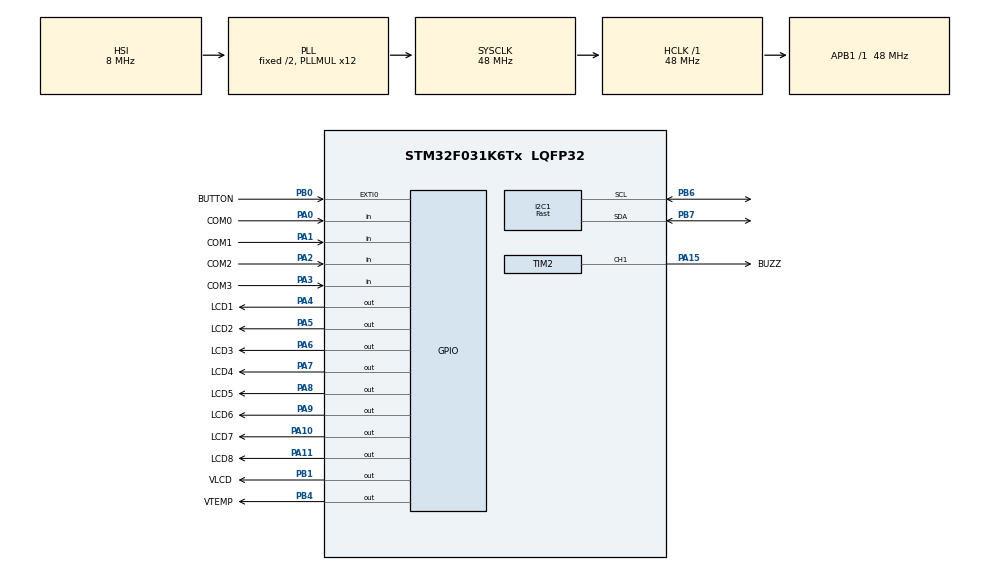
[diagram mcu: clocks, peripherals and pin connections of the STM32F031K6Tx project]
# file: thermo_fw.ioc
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I2C1.I2C_Speed_Mode=I2C_Fast
I2C1.Timing=0x0000020B
Mcu.Family=STM32F0
Mcu.Name=STM32F031K6Tx
Mcu.Package=LQFP32
NVIC.TIM16_IRQn=true\:1\:0\:true\:false\:true\:true\:true
NVIC.TIM17_IRQn=true\:2\:0\:true\:false\:true\:true\:true
PA0.GPIO_Label=COM0
PA0.Signal=GPIO_Input
PA1.GPIO_Label=COM1
PA1.Signal=GPIO_Input
PA10.GPIO_Label=LCD7
PA10.Signal=GPIO_Output
PA11.GPIO_Label=LCD8
PA11.Signal=GPIO_Output
PA13.GPIO_Label=SWDIO
PA13.Mode=Serial_Wire
PA13.Signal=SYS_SWDIO
PA14.GPIO_Label=SWCLK
PA14.Mode=Serial_Wire
PA14.Signal=SYS_SWCLK
PA15.GPIO_Label=BUZZ
PA15.Signal=S_TIM2_CH1_ETR
PA2.GPIO_Label=COM2
PA2.Signal=GPIO_Input
PA3.GPIO_Label=COM3
PA3.Signal=GPIO_Input
PA4.GPIO_Label=LCD1
PA4.Signal=GPIO_Output
PA5.GPIO_Label=LCD2
PA5.Signal=GPIO_Output
PA6.GPIO_Label=LCD3
PA6.Signal=GPIO_Output
PA7.GPIO_Label=LCD4
PA7.Signal=GPIO_Output
PA8.GPIO_Label=LCD5
PA8.Signal=GPIO_Output
PA9.GPIO_Label=LCD6
PA9.Signal=GPIO_Output
PB0.GPIO_Label=BUTTON
PB0.GPIO_PuPd=GPIO_PULLUP
PB0.Signal=GPXTI0
PB1.GPIO_Label=VLCD
PB1.Signal=GPIO_Output
PB4.GPIO_Label=VTEMP
PB4.Signal=GPIO_Output
PB6.Mode=I2C
PB6.Signal=I2C1_SCL
PB7.Mode=I2C
PB7.Signal=I2C1_SDA
PF0-OSC_IN.Mode=HSE-External-Clock-Source
PF0-OSC_IN.Signal=RCC_OSC_IN
ProjectManager.HeapSize=0x200
ProjectManager.StackSize=0x400
ProjectManager.TargetToolchain=STM32CubeIDE
RCC.AHBFreq_Value=48000000
RCC.APB1Freq_Value=48000000
RCC.APB1TimFreq_Value=48000000
RCC.HCLKFreq_Value=48000000
RCC.PLLMUL=RCC_PLL_MUL12
RCC.SYSCLKFreq_VALUE=48000000
RCC.SYSCLKSource=RCC_SYSCLKSOURCE_PLLCLK
SH.S_TIM2_CH1_ETR.0=TIM2_CH1,Output Compare1 CH1
TIM16.Period=1612
TIM16.Prescaler=479
TIM17.Period=10000
TIM17.Prescaler=4800
TIM2.Channel-Output\ Compare1\ CH1=TIM_CHANNEL_1
TIM2.Period=100
TIM2.Prescaler=100
TIM2.Pulse-Output\ Compare1\ CH1=50
VP_TIM16_VS_ClockSourceINT.Mode=Enable_Timer
VP_TIM17_VS_ClockSourceINT.Mode=Enable_Timer
VP_TIM2_VS_ClockSourceINT.Mode=Internal
board=NUCLEO-F031K6

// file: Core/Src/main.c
/* USER CODE BEGIN Header */
/**
  ******************************************************************************
  * @file           : main.c
  * @brief          : Main program body
  ******************************************************************************
  * @attention
  *
  * <h2><center>&copy; Copyright (c) 2020 STMicroelectronics.
  * All rights reserved.</center></h2>
  *
  * This software component is licensed by ST under BSD 3-Clause license,
  * the "License"; You may not use this file except in compliance with the
  * License. You may obtain a copy of the License at:
  *                        opensource.org/licenses/BSD-3-Clause
  *
  ******************************************************************************
  */
/* USER CODE END Header */

#include "main.h"

/* USER CODE BEGIN Includes */
#include "lcd.h"
#include "thermo.h"
#include "tmp117.h"

/* USER CODE END Includes */

/* USER CODE BEGIN PD */
#define SLEEP_TIMEOUT 15000  // 15 second sleep timeout
/* USER CODE END PD */

I2C_HandleTypeDef hi2c1;

TIM_HandleTypeDef htim2;
TIM_HandleTypeDef htim16;
TIM_HandleTypeDef htim17;

void SystemClock_Config(void);
static void MX_GPIO_Init(void);
static void MX_I2C1_Init(void);
static void MX_TIM2_Init(void);
static void MX_TIM16_Init(void);
static void MX_TIM17_Init(void);

int main(void)
{

  /* MCU Configuration--------------------------------------------------------*/

  /* Reset of all peripherals, Initializes the Flash interface and the Systick. */
  HAL_Init();

  /* Configure the system clock */
  SystemClock_Config();

  /* Initialize all configured peripherals */
  MX_GPIO_Init();
  MX_I2C1_Init();
  MX_TIM2_Init();
  MX_TIM16_Init();
  MX_TIM17_Init();
  /* USER CODE BEGIN 2 */
  tmp_init();

  uint32_t wakeup_time = HAL_GetTick() - SLEEP_TIMEOUT;

  /* USER CODE END 2 */

  /* Infinite loop */
  while (1)
  {

    /* USER CODE BEGIN 3 */
	  // loop until it's time to go to sleep.
	  while((wakeup_time + SLEEP_TIMEOUT) > HAL_GetTick()){
		  if(!(HAL_GPIO_ReadPin(BUTTON_GPIO_Port, BUTTON_Pin)) &
			 (get_thermo_status()	== THERMO_DONE))
		  {
			  reset_temp_measurements();
			  LCD_set_temp(0);
			  HAL_TIM_Base_Start_IT(&htim17);
			  set_thermo_status(THERMO_READING);
		  }
	  }

	  // turn off the power to the temp sensor
	  tmp_powerdown();
	  LCD_powerdown();
// if in debug mode, we just loop and wait for the button press
// changing the build configuration doesn't fix this. you may need to do it manually.
#ifdef DEBUG
	  while(HAL_GPIO_ReadPin(BUTTON_GPIO_Port, BUTTON_Pin));
#else
	  HAL_PWR_EnterSTOPMode(PWR_LOWPOWERREGULATOR_ON, PWR_STOPENTRY_WFE);
#endif
	  // when you wakeup, turn on the temp sensor, reset the LCD value and start the timers

	  tmp_powerup();
	  LCD_powerup();
	  reset_temp_measurements();
	  LCD_set_temp(0);
	  HAL_TIM_Base_Start_IT(&htim16);
	  HAL_TIM_Base_Start_IT(&htim17);
	  set_thermo_status(THERMO_READING);

  }
  /* USER CODE END 3 */
}

void SystemClock_Config(void)
{
  RCC_OscInitTypeDef RCC_OscInitStruct = {0};
  RCC_ClkInitTypeDef RCC_ClkInitStruct = {0};
  RCC_PeriphCLKInitTypeDef PeriphClkInit = {0};

  /** Initializes the CPU, AHB and APB busses clocks
  */
  RCC_OscInitStruct.OscillatorType = RCC_OSCILLATORTYPE_HSI;
  RCC_OscInitStruct.HSIState = RCC_HSI_ON;
  RCC_OscInitStruct.HSICalibrationValue = RCC_HSICALIBRATION_DEFAULT;
  RCC_OscInitStruct.PLL.PLLState = RCC_PLL_ON;
  RCC_OscInitStruct.PLL.PLLSource = RCC_PLLSOURCE_HSI;
  RCC_OscInitStruct.PLL.PLLMUL = RCC_PLL_MUL12;
  RCC_OscInitStruct.PLL.PREDIV = RCC_PREDIV_DIV1;
  if (HAL_RCC_OscConfig(&RCC_OscInitStruct) != HAL_OK)
  {
    Error_Handler();
  }
  /** Initializes the CPU, AHB and APB busses clocks
  */
  RCC_ClkInitStruct.ClockType = RCC_CLOCKTYPE_HCLK|RCC_CLOCKTYPE_SYSCLK
                              |RCC_CLOCKTYPE_PCLK1;
  RCC_ClkInitStruct.SYSCLKSource = RCC_SYSCLKSOURCE_PLLCLK;
  RCC_ClkInitStruct.AHBCLKDivider = RCC_SYSCLK_DIV1;
  RCC_ClkInitStruct.APB1CLKDivider = RCC_HCLK_DIV1;

  if (HAL_RCC_ClockConfig(&RCC_ClkInitStruct, FLASH_LATENCY_1) != HAL_OK)
  {
    Error_Handler();
  }
  PeriphClkInit.PeriphClockSelection = RCC_PERIPHCLK_I2C1;
  PeriphClkInit.I2c1ClockSelection = RCC_I2C1CLKSOURCE_HSI;
  if (HAL_RCCEx_PeriphCLKConfig(&PeriphClkInit) != HAL_OK)
  {
    Error_Handler();
  }
}

static void MX_I2C1_Init(void)
{

  hi2c1.Instance = I2C1;
  hi2c1.Init.Timing = 0x0000020B;
  hi2c1.Init.OwnAddress1 = 0;
  hi2c1.Init.AddressingMode = I2C_ADDRESSINGMODE_7BIT;
  hi2c1.Init.DualAddressMode = I2C_DUALADDRESS_DISABLE;
  hi2c1.Init.OwnAddress2 = 0;
  hi2c1.Init.OwnAddress2Masks = I2C_OA2_NOMASK;
  hi2c1.Init.GeneralCallMode = I2C_GENERALCALL_DISABLE;
  hi2c1.Init.NoStretchMode = I2C_NOSTRETCH_DISABLE;
  if (HAL_I2C_Init(&hi2c1) != HAL_OK)
  {
    Error_Handler();
  }
  /** Configure Analogue filter
  */
  if (HAL_I2CEx_ConfigAnalogFilter(&hi2c1, I2C_ANALOGFILTER_ENABLE) != HAL_OK)
  {
    Error_Handler();
  }
  /** Configure Digital filter
  */
  if (HAL_I2CEx_ConfigDigitalFilter(&hi2c1, 0) != HAL_OK)
  {
    Error_Handler();
  }

}

static void MX_TIM2_Init(void)
{

  TIM_ClockConfigTypeDef sClockSourceConfig = {0};
  TIM_MasterConfigTypeDef sMasterConfig = {0};
  TIM_OC_InitTypeDef sConfigOC = {0};

  htim2.Instance = TIM2;
  htim2.Init.Prescaler = 100;
  htim2.Init.CounterMode = TIM_COUNTERMODE_UP;
  htim2.Init.Period = 100;
  htim2.Init.ClockDivision = TIM_CLOCKDIVISION_DIV1;
  htim2.Init.AutoReloadPreload = TIM_AUTORELOAD_PRELOAD_DISABLE;
  if (HAL_TIM_Base_Init(&htim2) != HAL_OK)
  {
    Error_Handler();
  }
  sClockSourceConfig.ClockSource = TIM_CLOCKSOURCE_INTERNAL;
  if (HAL_TIM_ConfigClockSource(&htim2, &sClockSourceConfig) != HAL_OK)
  {
    Error_Handler();
  }
  if (HAL_TIM_OC_Init(&htim2) != HAL_OK)
  {
    Error_Handler();
  }
  sMasterConfig.MasterOutputTrigger = TIM_TRGO_RESET;
  sMasterConfig.MasterSlaveMode = TIM_MASTERSLAVEMODE_DISABLE;
  if (HAL_TIMEx_MasterConfigSynchronization(&htim2, &sMasterConfig) != HAL_OK)
  {
    Error_Handler();
  }
  sConfigOC.OCMode = TIM_OCMODE_TIMING;
  sConfigOC.Pulse = 50;
  sConfigOC.OCPolarity = TIM_OCPOLARITY_HIGH;
  sConfigOC.OCFastMode = TIM_OCFAST_DISABLE;
  if (HAL_TIM_OC_ConfigChannel(&htim2, &sConfigOC, TIM_CHANNEL_1) != HAL_OK)
  {
    Error_Handler();
  }
  HAL_TIM_MspPostInit(&htim2);

}

static void MX_TIM16_Init(void)
{

  htim16.Instance = TIM16;
  htim16.Init.Prescaler = 479;
  htim16.Init.CounterMode = TIM_COUNTERMODE_UP;
  htim16.Init.Period = 1612;
  htim16.Init.ClockDivision = TIM_CLOCKDIVISION_DIV1;
  htim16.Init.RepetitionCounter = 0;
  htim16.Init.AutoReloadPreload = TIM_AUTORELOAD_PRELOAD_DISABLE;
  if (HAL_TIM_Base_Init(&htim16) != HAL_OK)
  {
    Error_Handler();
  }

}

static void MX_TIM17_Init(void)
{

  htim17.Instance = TIM17;
  htim17.Init.Prescaler = 4800;
  htim17.Init.CounterMode = TIM_COUNTERMODE_UP;
  htim17.Init.Period = 10000;
  htim17.Init.ClockDivision = TIM_CLOCKDIVISION_DIV1;
  htim17.Init.RepetitionCounter = 0;
  htim17.Init.AutoReloadPreload = TIM_AUTORELOAD_PRELOAD_DISABLE;
  if (HAL_TIM_Base_Init(&htim17) != HAL_OK)
  {
    Error_Handler();
  }

}

static void MX_GPIO_Init(void)
{
  GPIO_InitTypeDef GPIO_InitStruct = {0};

  /* GPIO Ports Clock Enable */
  __HAL_RCC_GPIOF_CLK_ENABLE();
  __HAL_RCC_GPIOA_CLK_ENABLE();
  __HAL_RCC_GPIOB_CLK_ENABLE();

  /*Configure GPIO pin Output Level */
  HAL_GPIO_WritePin(GPIOA, LCD1_Pin|LCD2_Pin|LCD3_Pin|LCD4_Pin
                          |LCD5_Pin|LCD6_Pin|LCD7_Pin|LCD8_Pin, GPIO_PIN_RESET);

  /*Configure GPIO pin Output Level */
  HAL_GPIO_WritePin(GPIOB, VLCD_Pin|VTEMP_Pin, GPIO_PIN_RESET);

  /*Configure GPIO pins : COM0_Pin COM1_Pin COM2_Pin COM3_Pin */
  GPIO_InitStruct.Pin = COM0_Pin|COM1_Pin|COM2_Pin|COM3_Pin;
  GPIO_InitStruct.Mode = GPIO_MODE_INPUT;
  GPIO_InitStruct.Pull = GPIO_NOPULL;
  HAL_GPIO_Init(GPIOA, &GPIO_InitStruct);

  /*Configure GPIO pins : LCD1_Pin LCD2_Pin LCD3_Pin LCD4_Pin
                           LCD5_Pin LCD6_Pin LCD7_Pin LCD8_Pin */
  GPIO_InitStruct.Pin = LCD1_Pin|LCD2_Pin|LCD3_Pin|LCD4_Pin
                          |LCD5_Pin|LCD6_Pin|LCD7_Pin|LCD8_Pin;
  GPIO_InitStruct.Mode = GPIO_MODE_OUTPUT_PP;
  GPIO_InitStruct.Pull = GPIO_NOPULL;
  GPIO_InitStruct.Speed = GPIO_SPEED_FREQ_LOW;
  HAL_GPIO_Init(GPIOA, &GPIO_InitStruct);

  /*Configure GPIO pin : BUTTON_Pin */
  GPIO_InitStruct.Pin = BUTTON_Pin;
  GPIO_InitStruct.Mode = GPIO_MODE_IT_RISING;
  GPIO_InitStruct.Pull = GPIO_PULLUP;
  HAL_GPIO_Init(BUTTON_GPIO_Port, &GPIO_InitStruct);

  /*Configure GPIO pins : VLCD_Pin VTEMP_Pin */
  GPIO_InitStruct.Pin = VLCD_Pin|VTEMP_Pin;
  GPIO_InitStruct.Mode = GPIO_MODE_OUTPUT_PP;
  GPIO_InitStruct.Pull = GPIO_NOPULL;
  GPIO_InitStruct.Speed = GPIO_SPEED_FREQ_LOW;
  HAL_GPIO_Init(GPIOB, &GPIO_InitStruct);

}

/* USER CODE BEGIN 4 */

void HAL_TIM_PeriodElapsedCallback(TIM_HandleTypeDef *htim)
{
	if(htim->Instance == TIM16)
		LCD_run();
	if(htim->Instance == TIM17)
		read_temp();
}
/* USER CODE END 4 */

void Error_Handler(void)
{
}

/************************ (C) COPYRIGHT STMicroelectronics *****END OF FILE****/
